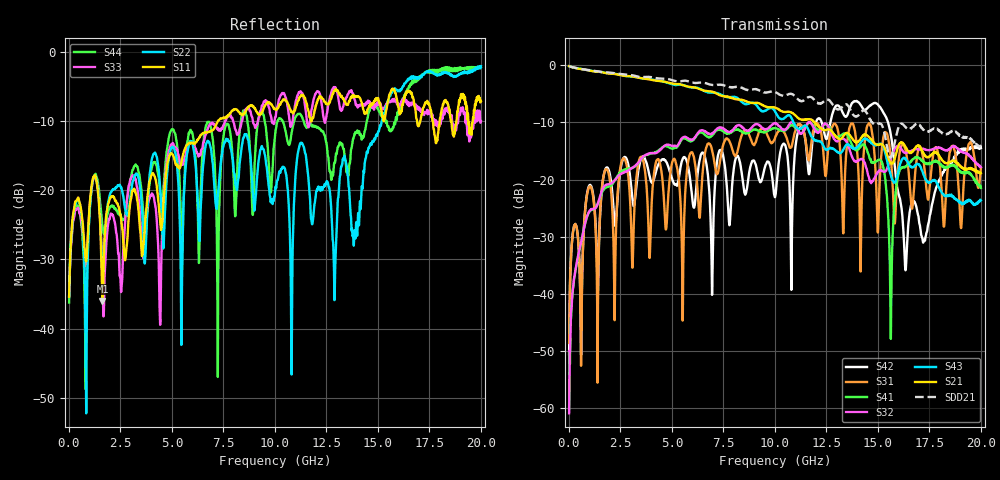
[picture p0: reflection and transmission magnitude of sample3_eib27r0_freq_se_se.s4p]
! S11 = S11
! S12 = S12
! S13 = S13
! S14 = S14
! S21 = S21
! S22 = S22
! S23 = S23
! S24 = S24
! S31 = S31
! S32 = S32
! S33 = S33
! S34 = S34
! S41 = S41
! S42 = S42
! S43 = S43
! S44 = S44
! FILE: C:\Documents and Settings\cilab\Desktop\Test\310058-000-sample3\sample3_eib27r0_freq_se_se.s4p
!$DUT_CFG_DESC: Default 4 Port Configuration
!$NUMBER_PORTS: 4
!$DIFF_PORT_MAP: 1|2P|2|2P|0|UC|0|UC
!$PORT_MAP: 1|1|<<<<<<|2|2|>>>>>>|3|3|<<<<<<|4|4|>>>>>>
# MHz S MA R 50.00
! FREQ  S11  S12  S13  S14
!  S21  S22  S23  S24
!  S31  S32  S33  S34
!  S41  S42  S43  S44
!  MAG  ANG  MAG  ANG  MAG  ANG  MAG  ANG
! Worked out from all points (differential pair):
!   2000 points, 10 MHz to 20 GHz, reference 50 ohm
!   strongest paths, dB at 10 MHz, 5.01 GHz, 10.01 GHz, 15.01 GHz, 20 GHz:
!     S21: -0.1, -3.2, -7.4, -13.9, -18.9
!     S43: -0.1, -3.3, -8.1, -13.8, -23.7
!     S32: -61.0, -14.1, -10.1, -18.6, -17.8
!     S41: -60.2, -14.6, -11.0, -16.6, -21.5
!     S31: -48.7, -17.0, -12.7, -28.8, -18.0
!     S42: -50.7, -19.8, -23.0, -6.9, -14.5
!   taken as a pair (ports 1,3 in; 2,4 out), SDD21 dB: -0.1, -2.6, -4.6, -10.2, -14.4
!   lowest |S11| = -36.0 dB at 1.63 GHz (marker M1), VSWR 1.03, Z = 48.8 + j0.987 ohm
!   |S11| at or under -10 dB: start of sweep to 7.236 GHz; 17.66 GHz to 18 GHz (334.4 MHz wide, 1.88 % of centre); 18.57 GHz to 18.81 GHz (241.6 MHz wide, 1.29 % of centre)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
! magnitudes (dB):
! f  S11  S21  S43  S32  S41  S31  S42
! 10 MHz  -35.4  -0.1  -0.1  -61.0  -60.2  -48.7  -50.7
! 1.63 GHz  -36.0  -1.2  -1.2  -21.7  -22.1  -20.5  -20.7
! 10.79 GHz  -8.7  -8.2  -9.1  -10.0  -10.5  -14.4  -38.0
! 14.89 GHz  -7.1  -13.8  -14.0  -19.3  -16.8  -18.9  -6.6
! 15.63 GHz  -5.7  -17.2  -19.3  -16.2  -47.9  -16.3  -12.2
! 16.35 GHz  -6.2  -14.4  -16.3  -15.4  -17.7  -15.0  -35.8
! 20 GHz  -7.1  -18.9  -23.7  -17.8  -21.5  -18.0  -14.5
